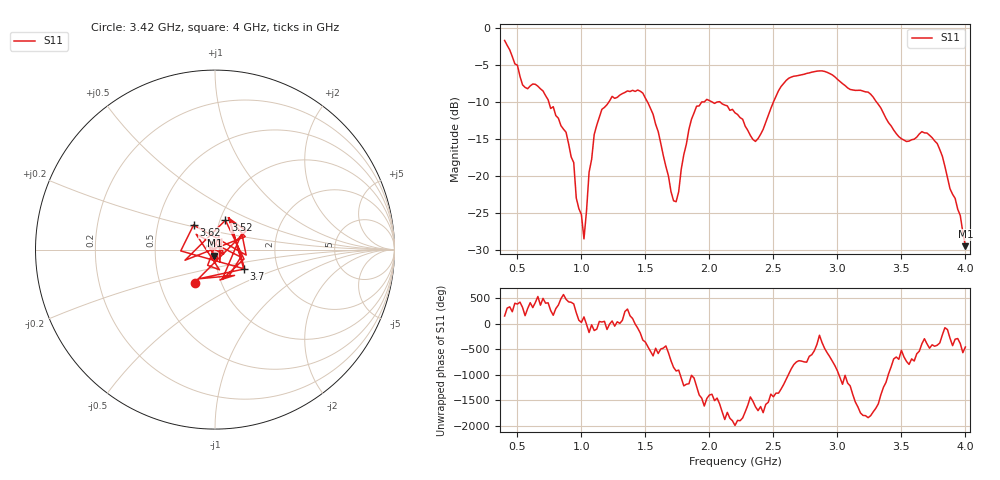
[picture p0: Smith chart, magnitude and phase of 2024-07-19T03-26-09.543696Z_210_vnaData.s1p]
!Created with skrf (http://scikit-rf.org).
# Hz S RI R 50.0
!freq ReS11 ImS11
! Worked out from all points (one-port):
!   181 points, 400 MHz to 4 GHz, reference 50 ohm
!   lowest |S11| = -29.5 dB at 4 GHz (marker M1), VSWR 1.07, Z = 49.6 - j3.29 ohm
!   |S11| at or under -10 dB: 744.1 MHz to 1.217 GHz (472.7 MHz wide, 48.2 % of centre); 2.015 GHz to 2.502 GHz (486.7 MHz wide, 21.6 % of centre); 3.303 GHz to end of sweep (the widest 3 of 4)
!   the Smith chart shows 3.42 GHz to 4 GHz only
!   S11 on the Smith chart (normalised r, x): 3.42 GHz: 0.75, -0.29; 3.52 GHz: 1.06, +0.36; 3.62 GHz: 0.76, +0.22; 3.7 GHz: 1.34, -0.30; 4 GHz: 0.99, -0.07
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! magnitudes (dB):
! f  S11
! 400 MHz  -1.7
! 540 MHz  -7.7
! 700 MHz  -8.6
! 860 MHz  -13.7
! 940 MHz  -18.2
! 960 MHz  -23.0
! 1.02 GHz  -28.6
! 1.06 GHz  -19.5
! 1.1 GHz  -14.4
! 1.3 GHz  -9.1
! 1.48 GHz  -8.9
! 1.6 GHz  -14.1
! 1.72 GHz  -23.4
! 1.76 GHz  -22.2
! 1.84 GHz  -13.8
! 1.9 GHz  -10.6
! 2.2 GHz  -11.5
! 2.36 GHz  -15.4
! 2.66 GHz  -6.6
! 3.1 GHz  -8.4
! 3.26 GHz  -9.0
! 3.42 GHz  -13.3
! 3.52 GHz  -15.2
! 3.56 GHz  -15.3
! 3.62 GHz  -14.8
! 3.7 GHz  -14.3
! 3.82 GHz  -17.4
! 4 GHz  -29.5
